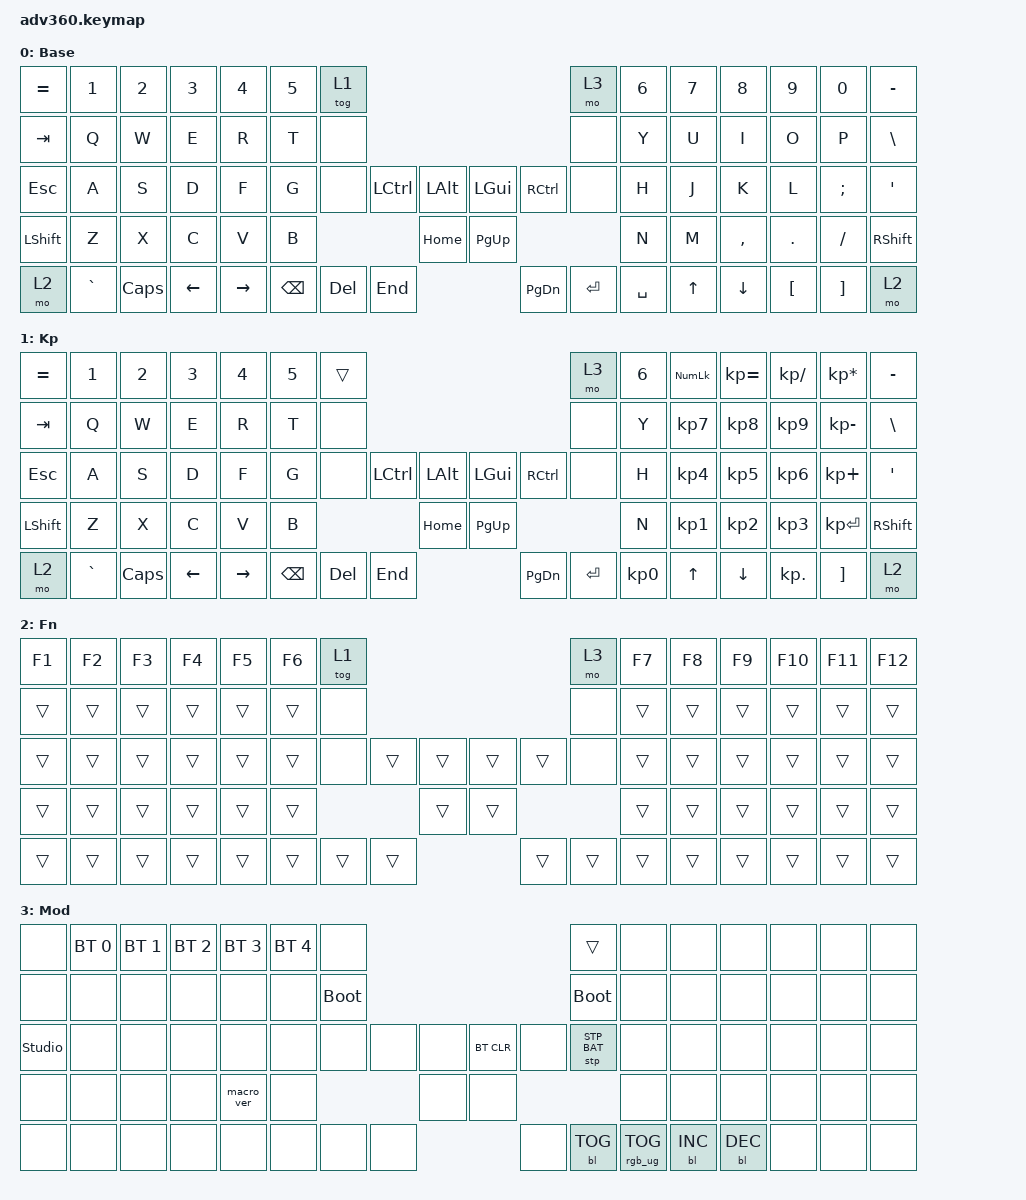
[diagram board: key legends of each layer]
#include <behaviors.dtsi>
#include <dt-bindings/zmk/keys.h>
#include <dt-bindings/zmk/bt.h>
#include <dt-bindings/zmk/rgb.h>
#include <dt-bindings/zmk/stp.h>
#include <dt-bindings/zmk/backlight.h>
#include <dt-bindings/zmk/pointing.h>

/ {
    behaviors {
      #include "macros.dtsi"
      #include "version.dtsi"

      hm: homerow_mods {
          compatible = "zmk,behavior-hold-tap";
          label = "HOMEROW_MODS";
          #binding-cells = <2>;
          tapping-term-ms = <200>;
          quick_tap_ms = <175>;
          flavor = "tap-preferred";
          bindings = <&kp>, <&kp>;
      };

        // tapdance-tool:begin (360 탭 댄스 생성기가 관리하는 영역)
        hold_shift: hold_shift {
            compatible = "zmk,behavior-hold-tap";
            #binding-cells = <2>;
            tapping-term-ms = <200>;
            flavor = "hold-preferred";
            hold-trigger-key-positions = <500>;
            bindings = <&kp>, <&kp>;
        };

        hs_a: hs_a {
            compatible = "zmk,behavior-tap-dance";
            display-name = "a/A";
            #binding-cells = <0>;
            bindings = <&hold_shift LS(A) A>;
        };

        hs_b: hs_b {
            compatible = "zmk,behavior-tap-dance";
            display-name = "b/B";
            #binding-cells = <0>;
            bindings = <&hold_shift LS(B) B>;
        };

        hs_c: hs_c {
            compatible = "zmk,behavior-tap-dance";
            display-name = "c/C";
            #binding-cells = <0>;
            bindings = <&hold_shift LS(C) C>;
        };

        hs_d: hs_d {
            compatible = "zmk,behavior-tap-dance";
            display-name = "d/D";
            #binding-cells = <0>;
            bindings = <&hold_shift LS(D) D>;
        };

        hs_e: hs_e {
            compatible = "zmk,behavior-tap-dance";
            display-name = "e/E";
            #binding-cells = <0>;
            bindings = <&hold_shift LS(E) E>;
        };

        hs_f: hs_f {
            compatible = "zmk,behavior-tap-dance";
            display-name = "f/F";
            #binding-cells = <0>;
            bindings = <&hold_shift LS(F) F>;
        };

        hs_g: hs_g {
            compatible = "zmk,behavior-tap-dance";
            display-name = "g/G";
            #binding-cells = <0>;
            bindings = <&hold_shift LS(G) G>;
        };

        hs_h: hs_h {
            compatible = "zmk,behavior-tap-dance";
            display-name = "h/H";
            #binding-cells = <0>;
            bindings = <&hold_shift LS(H) H>;
        };

        hs_i: hs_i {
            compatible = "zmk,behavior-tap-dance";
            display-name = "i/I";
            #binding-cells = <0>;
            bindings = <&hold_shift LS(I) I>;
        };

        hs_j: hs_j {
            compatible = "zmk,behavior-tap-dance";
            display-name = "j/J";
            #binding-cells = <0>;
            bindings = <&hold_shift LS(J) J>;
        };

        hs_k: hs_k {
            compatible = "zmk,behavior-tap-dance";
            display-name = "k/K";
            #binding-cells = <0>;
            bindings = <&hold_shift LS(K) K>;
        };

        hs_l: hs_l {
            compatible = "zmk,behavior-tap-dance";
            display-name = "l/L";
            #binding-cells = <0>;
            bindings = <&hold_shift LS(L) L>;
        };

        hs_m: hs_m {
            compatible = "zmk,behavior-tap-dance";
            display-name = "m/M";
            #binding-cells = <0>;
            bindings = <&hold_shift LS(M) M>;
        };

        hs_n: hs_n {
            compatible = "zmk,behavior-tap-dance";
            display-name = "n/N";
            #binding-cells = <0>;
            bindings = <&hold_shift LS(N) N>;
        };

        hs_o: hs_o {
            compatible = "zmk,behavior-tap-dance";
            display-name = "o/O";
            #binding-cells = <0>;
            bindings = <&hold_shift LS(O) O>;
        };

        hs_p: hs_p {
            compatible = "zmk,behavior-tap-dance";
            display-name = "p/P";
            #binding-cells = <0>;
            bindings = <&hold_shift LS(P) P>;
        };

        hs_q: hs_q {
            compatible = "zmk,behavior-tap-dance";
            display-name = "q/Q";
            #binding-cells = <0>;
            bindings = <&hold_shift LS(Q) Q>;
        };

        hs_r: hs_r {
            compatible = "zmk,behavior-tap-dance";
            display-name = "r/R";
            #binding-cells = <0>;
            bindings = <&hold_shift LS(R) R>;
        };

        hs_s: hs_s {
            compatible = "zmk,behavior-tap-dance";
            display-name = "s/S";
            #binding-cells = <0>;
            bindings = <&hold_shift LS(S) S>;
        };

        hs_t: hs_t {
            compatible = "zmk,behavior-tap-dance";
            display-name = "t/T";
            #binding-cells = <0>;
            bindings = <&hold_shift LS(T) T>;
        };

        hs_u: hs_u {
            compatible = "zmk,behavior-tap-dance";
            display-name = "u/U";
            #binding-cells = <0>;
            bindings = <&hold_shift LS(U) U>;
        };

        hs_v: hs_v {
            compatible = "zmk,behavior-tap-dance";
            display-name = "v/V";
            #binding-cells = <0>;
            bindings = <&hold_shift LS(V) V>;
        };

        hs_w: hs_w {
            compatible = "zmk,behavior-tap-dance";
            display-name = "w/W";
            #binding-cells = <0>;
            bindings = <&hold_shift LS(W) W>;
        };

        hs_x: hs_x {
            compatible = "zmk,behavior-tap-dance";
            display-name = "x/X";
            #binding-cells = <0>;
            bindings = <&hold_shift LS(X) X>;
        };

        hs_y: hs_y {
            compatible = "zmk,behavior-tap-dance";
            display-name = "y/Y";
            #binding-cells = <0>;
            bindings = <&hold_shift LS(Y) Y>;
        };

        hs_z: hs_z {
            compatible = "zmk,behavior-tap-dance";
            display-name = "z/Z";
            #binding-cells = <0>;
            bindings = <&hold_shift LS(Z) Z>;
        };

        hs_n1: hs_n1 {
            compatible = "zmk,behavior-tap-dance";
            display-name = "1/!";
            #binding-cells = <0>;
            bindings = <&hold_shift LS(N1) N1>;
        };

        hs_n2: hs_n2 {
            compatible = "zmk,behavior-tap-dance";
            display-name = "2/@";
            #binding-cells = <0>;
            bindings = <&hold_shift LS(N2) N2>;
        };

        hs_n3: hs_n3 {
            compatible = "zmk,behavior-tap-dance";
            display-name = "3/#";
            #binding-cells = <0>;
            bindings = <&hold_shift LS(N3) N3>;
        };

        hs_n4: hs_n4 {
            compatible = "zmk,behavior-tap-dance";
            display-name = "4/$";
            #binding-cells = <0>;
            bindings = <&hold_shift LS(N4) N4>;
        };

        hs_n5: hs_n5 {
            compatible = "zmk,behavior-tap-dance";
            display-name = "5/%";
            #binding-cells = <0>;
            bindings = <&hold_shift LS(N5) N5>;
        };

        hs_n6: hs_n6 {
            compatible = "zmk,behavior-tap-dance";
            display-name = "6/^";
            #binding-cells = <0>;
            bindings = <&hold_shift LS(N6) N6>;
        };

        hs_n7: hs_n7 {
            compatible = "zmk,behavior-tap-dance";
            display-name = "7/&";
            #binding-cells = <0>;
            bindings = <&hold_shift LS(N7) N7>;
        };

        hs_n8: hs_n8 {
            compatible = "zmk,behavior-tap-dance";
            display-name = "8/star";
            #binding-cells = <0>;
            bindings = <&hold_shift LS(N8) N8>;
        };

        hs_n9: hs_n9 {
            compatible = "zmk,behavior-tap-dance";
            display-name = "9/(";
            #binding-cells = <0>;
            bindings = <&hold_shift LS(N9) N9>;
        };

        hs_n0: hs_n0 {
            compatible = "zmk,behavior-tap-dance";
            display-name = "0/)";
            #binding-cells = <0>;
            bindings = <&hold_shift LS(N0) N0>;
        };

        hs_grave: hs_grave {
            compatible = "zmk,behavior-tap-dance";
            display-name = "`/~";
            #binding-cells = <0>;
            bindings = <&hold_shift LS(GRAVE) GRAVE>;
        };

        hs_minus: hs_minus {
            compatible = "zmk,behavior-tap-dance";
            display-name = "-/_";
            #binding-cells = <0>;
            bindings = <&hold_shift LS(MINUS) MINUS>;
        };

        hs_equal: hs_equal {
            compatible = "zmk,behavior-tap-dance";
            display-name = "=/+";
            #binding-cells = <0>;
            bindings = <&hold_shift LS(EQUAL) EQUAL>;
        };

        hs_lbkt: hs_lbkt {
            compatible = "zmk,behavior-tap-dance";
            display-name = "[/{";
            #binding-cells = <0>;
            bindings = <&hold_shift LS(LBKT) LBKT>;
        };

        hs_rbkt: hs_rbkt {
            compatible = "zmk,behavior-tap-dance";
            display-name = "]/}";
            #binding-cells = <0>;
            bindings = <&hold_shift LS(RBKT) RBKT>;
        };

        hs_bslh: hs_bslh {
            compatible = "zmk,behavior-tap-dance";
            display-name = "bslh/|";
            #binding-cells = <0>;
            bindings = <&hold_shift LS(BSLH) BSLH>;
        };

        hs_semi: hs_semi {
            compatible = "zmk,behavior-tap-dance";
            display-name = ";/:";
            #binding-cells = <0>;
            bindings = <&hold_shift LS(SEMI) SEMI>;
        };

        hs_sqt: hs_sqt {
            compatible = "zmk,behavior-tap-dance";
            display-name = "qt/dqt";
            #binding-cells = <0>;
            bindings = <&hold_shift LS(SQT) SQT>;
        };

        hs_comma: hs_comma {
            compatible = "zmk,behavior-tap-dance";
            display-name = ",/<";
            #binding-cells = <0>;
            bindings = <&hold_shift LS(COMMA) COMMA>;
        };

        hs_dot: hs_dot {
            compatible = "zmk,behavior-tap-dance";
            display-name = "./>";
            #binding-cells = <0>;
            bindings = <&hold_shift LS(DOT) DOT>;
        };

        hs_fslh: hs_fslh {
            compatible = "zmk,behavior-tap-dance";
            display-name = "slash/?";
            #binding-cells = <0>;
            bindings = <&hold_shift LS(FSLH) FSLH>;
        };

        hs_ret: hs_ret {
            compatible = "zmk,behavior-tap-dance";
            display-name = "Ent/S+Ent";
            #binding-cells = <0>;
            bindings = <&hold_shift LS(RET) RET>;
        };

        ms_up: ms_up {
            compatible = "zmk,behavior-tap-dance";
            display-name = "Mouse Up";
            #binding-cells = <0>;
            bindings = <&mmv MOVE_Y(-1000)>;
        };

        ms_down: ms_down {
            compatible = "zmk,behavior-tap-dance";
            display-name = "Mouse Dn";
            #binding-cells = <0>;
            bindings = <&mmv MOVE_Y(1000)>;
        };

        ms_left: ms_left {
            compatible = "zmk,behavior-tap-dance";
            display-name = "Mouse Lt";
            #binding-cells = <0>;
            bindings = <&mmv MOVE_X(-1000)>;
        };

        ms_right: ms_right {
            compatible = "zmk,behavior-tap-dance";
            display-name = "Mouse Rt";
            #binding-cells = <0>;
            bindings = <&mmv MOVE_X(1000)>;
        };

        ms_sup: ms_sup {
            compatible = "zmk,behavior-tap-dance";
            display-name = "Scroll Up";
            #binding-cells = <0>;
            bindings = <&msc MOVE_Y(10)>;
        };

        ms_sdown: ms_sdown {
            compatible = "zmk,behavior-tap-dance";
            display-name = "Scroll Dn";
            #binding-cells = <0>;
            bindings = <&msc MOVE_Y(-10)>;
        };

        ms_sleft: ms_sleft {
            compatible = "zmk,behavior-tap-dance";
            display-name = "Scroll Lt";
            #binding-cells = <0>;
            bindings = <&msc MOVE_X(-10)>;
        };

        ms_sright: ms_sright {
            compatible = "zmk,behavior-tap-dance";
            display-name = "Scroll Rt";
            #binding-cells = <0>;
            bindings = <&msc MOVE_X(10)>;
        };

        mc_1: mc_1 {
            compatible = "zmk,behavior-macro";
            display-name = "Test";
            #binding-cells = <0>;
            wait-ms = <15>;
            tap-ms = <30>;
            bindings = <&macro_tap &kp N1 &kp N8 &kp N9 &kp N5>, <&macro_wait_time 200>, <&macro_tap &none>, <&macro_wait_time 15>, <&macro_tap &kp RET>;
        };
        // tapdance-tool:end
    };

  keymap {
    compatible = "zmk,keymap";

    default_layer {
      display-name = "Base";
      bindings = <
        &kp EQUAL &kp N1    &kp N2   &kp N3   &kp N4     &kp N5 &tog 1                                                           &mo 3 &kp N6 &kp N7 &kp N8    &kp N9   &kp N0   &kp MINUS
        &kp TAB   &kp Q     &kp W    &kp E    &kp R      &kp T  &none                                                            &none &kp Y  &kp U  &kp I     &kp O    &kp P    &kp BSLH
        &kp ESC   &kp A     &kp S    &kp D    &kp F      &kp G  &none           &kp LCTRL &kp LALT &kp LGUI  &kp RCTRL           &none &kp H  &kp J  &kp K     &kp L    &kp SEMI &kp SQT
        &kp LSHFT &kp Z     &kp X    &kp C    &kp V      &kp B                            &kp HOME &kp PG_UP                           &kp N  &kp M  &kp COMMA &kp DOT  &kp FSLH &kp RSHFT
        &mo 2     &kp GRAVE &kp CAPS &kp LEFT &kp RIGHT                &kp BSPC &kp DEL   &kp END  &kp PG_DN &kp ENTER &kp SPACE              &kp UP &kp DOWN  &kp LBKT &kp RBKT &mo 2
      >;
    };
    keypad {
      display-name = "Kp";
      bindings = <
        &kp EQUAL &kp N1    &kp N2   &kp N3   &kp N4     &kp N5 &trans                                                           &mo 3 &kp N6 &kp KP_NUM &kp KP_EQUAL &kp KP_DIVIDE &kp KP_MULTIPLY &kp MINUS
        &kp TAB   &kp Q     &kp W    &kp E    &kp R      &kp T  &none                                                            &none &kp Y  &kp KP_N7  &kp KP_N8    &kp KP_N9     &kp KP_MINUS    &kp BSLH
        &kp ESC   &kp A     &kp S    &kp D    &kp F      &kp G  &none           &kp LCTRL &kp LALT &kp LGUI  &kp RCTRL           &none &kp H  &kp KP_N4  &kp KP_N5    &kp KP_N6     &kp KP_PLUS     &kp SQT
        &kp LSHFT &kp Z     &kp X    &kp C    &kp V      &kp B                            &kp HOME &kp PG_UP                           &kp N  &kp KP_N1  &kp KP_N2    &kp KP_N3     &kp KP_ENTER    &kp RSHFT
        &mo 2     &kp GRAVE &kp CAPS &kp LEFT &kp RIGHT                &kp BSPC &kp DEL   &kp END  &kp PG_DN &kp ENTER &kp KP_N0              &kp UP     &kp DOWN     &kp KP_DOT    &kp RBKT        &mo 2
      >;
    };
    fn {
      display-name = "Fn";
      bindings = <
        &kp F1 &kp F2 &kp F3 &kp F4 &kp F5 &kp F6 &tog 1                                           &mo 3 &kp F7 &kp F8 &kp F9 &kp F10 &kp F11 &kp F12
        &trans &trans &trans &trans &trans &trans  &none                                           &none &trans &trans &trans &trans  &trans  &trans
        &trans &trans &trans &trans &trans &trans  &none        &trans &trans &trans &trans        &none &trans &trans &trans &trans  &trans  &trans
        &trans &trans &trans &trans &trans &trans                      &trans &trans                     &trans &trans &trans &trans  &trans  &trans
        &trans &trans &trans &trans &trans               &trans &trans &trans &trans &trans &trans              &trans &trans &trans  &trans  &trans
      >;
    };
    mod {
      display-name = "Mod";
      bindings = <
        &none &bt BT_SEL 0 &bt BT_SEL 1 &bt BT_SEL 2 &bt BT_SEL 3 &bt BT_SEL 4 &none                                                                     &trans                 &none        &none        &none        &none &none &none
        &none &none        &none        &none        &none        &none        &bootloader                                                               &bootloader            &none        &none        &none        &none &none &none
        &studio_unlock &none        &none        &none        &none        &none        &none                   &none &none &bt BT_CLR &none                      &stp STP_BAT &none        &none        &none        &none &none &none
        &none &none        &none        &none        &macro_ver   &none                                      &none &none                                                        &none        &none        &none        &none &none &none
        &none &none        &none        &none        &none                                       &none &none &none &none      &bl BL_TOG &rgb_ug RGB_TOG                                     &bl BL_INC   &bl BL_DEC   &none &none &none
      >;
    };
    extra1 { 
      display-name = "Red";    
      status = "reserved";
    };

    extra2 { 
      display-name = "Purple";    
      status = "reserved";
    };

    extra3 { 
      display-name = "Cyan";    
      status = "reserved";
    };

    extra4 { 
      display-name = "Yellow";    
      status = "reserved";
    };
  };
};
